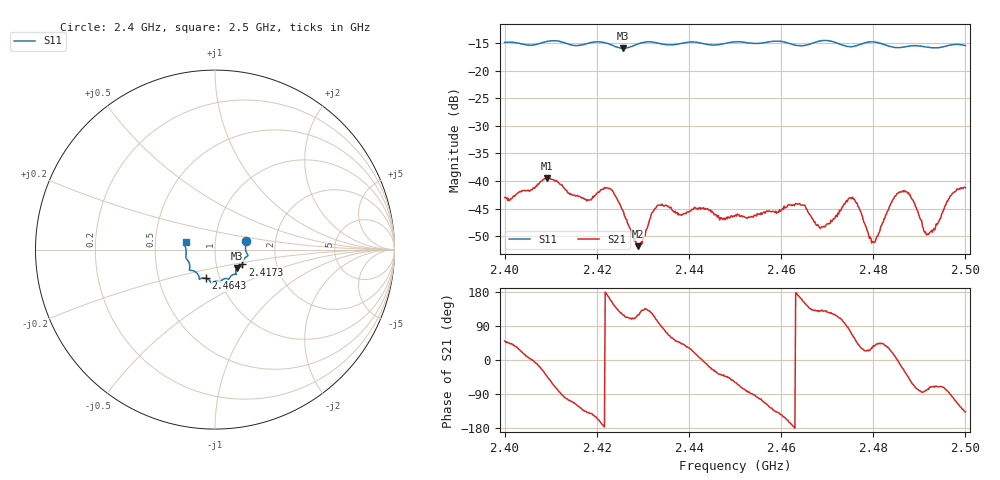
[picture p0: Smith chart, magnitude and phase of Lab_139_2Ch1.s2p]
# Hz S RI R 50
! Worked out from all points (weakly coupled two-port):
!   601 points, 2.4 GHz to 2.5 GHz, reference 50 ohm
!   highest |S21| = -39.48 dB at 2.4092 GHz (marker M1); lowest = -51.8 dB at 2.429 GHz (marker M2)
!   lowest |S11| = -15.9 dB at 2.4257 GHz (marker M3), VSWR 1.38, Z = 62.4 - j13.1 ohm
!   |S11| at or under -10 dB: start of sweep to end of sweep
!   S12 and S22 are empty: the file has one direction only
!   S11 on the Smith chart (normalised r, x): 2.4 GHz: 1.41, +0.14; 2.4173 GHz: 1.34, -0.23; 2.4643 GHz: 0.86, -0.28; 2.5 GHz: 0.72, +0.06
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2.4e9  0.1735 0.049  0.00457 0.00541  0 0  0 0
2.409167e9  0.1817 -0.0287  0.00788 -0.00711  0 0  0 0
2.416667e9  0.1533 -0.0751  -0.00432 -0.00559  0 0  0 0
2.417333e9  0.1526 -0.0826  -0.00484 -0.00483  0 0  0 0
2.422667e9  0.1469 -0.0939  -0.00825 0.00218  0 0  0 0
2.425667e9  0.1225 -0.1021  -0.00263 0.00474  0 0  0 0
2.429e9  0.1157 -0.1312  -0.00126 0.00223  0 0  0 0
2.433333e9  0.1129 -0.1371  -0.000987 0.00595  0 0  0 0
2.438167e9  0.0822 -0.1556  0.00349 0.00348  0 0  0 0
2.442667e9  0.0712 -0.1627  0.0057 0.000296  0 0  0 0
2.45e9  0.0294 -0.1803  0.00251 -0.00414  0 0  0 0
2.464333e9  -0.0502 -0.1603  -0.00575 0.0019  0 0  0 0
2.466667e9  -0.0759 -0.1592  -0.00309 0.00343  0 0  0 0
2.469e9  -0.0876 -0.1659  -0.0025 0.00293  0 0  0 0
2.475333e9  -0.1088 -0.1239  0.00259 0.00641  0 0  0 0
2.48e9  -0.1429 -0.1136  0.00222 0.0017  0 0  0 0
2.483333e9  -0.1407 -0.0901  0.00471 0.00291  0 0  0 0
2.485167e9  -0.1455 -0.0704  0.0077 0.000133  0 0  0 0
2.487333e9  -0.1569 -0.0543  0.00604 -0.00514  0 0  0 0
2.492e9  -0.1607 -0.0254  0.000696 -0.00321  0 0  0 0
2.497e9  -0.1693 0.0261  -0.000632 -0.00744  0 0  0 0
2.5e9  -0.1636 0.0414  -0.00639 -0.00591  0 0  0 0
